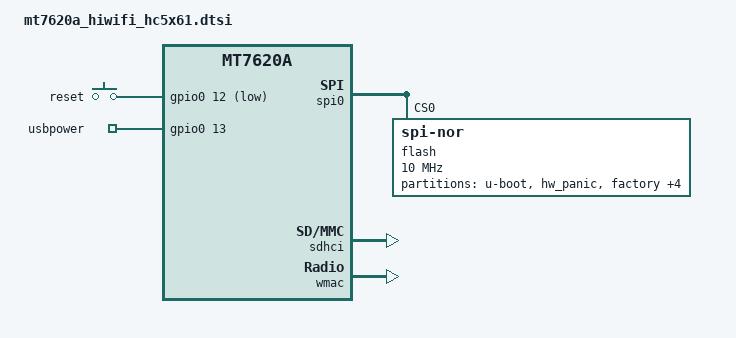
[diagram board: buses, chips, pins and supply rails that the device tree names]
#include "mt7620a.dtsi"

#include <dt-bindings/gpio/gpio.h>
#include <dt-bindings/input/input.h>

/ {
	compatible = "hiwifi,hc5x61", "ralink,mt7620a-soc";

	chosen {
		bootargs = "console=ttyS0,115200";
	};

	keys {
		compatible = "gpio-keys";

		reset {
			label = "reset";
			gpios = <&gpio0 12 GPIO_ACTIVE_LOW>;
			linux,code = <KEY_RESTART>;
		};
	};

	gpio_export {
		compatible = "gpio-export";
		#size-cells = <0>;

		usbpower {
			gpio-export,name = "usbpower";
			gpio-export,output = <1>;
			gpios = <&gpio0 13 GPIO_ACTIVE_HIGH>;
		};
	};
};

&sysc {
	ralink,gpiomux = "i2c", "jtag";
	ralink,uartmux = "gpio";
	ralink,wdtmux = <1>;
};

&gpio3 {
	status = "okay";
};

&spi0 {
	status = "okay";

	flash@0 {
		compatible = "jedec,spi-nor";
		reg = <0>;
		spi-max-frequency = <10000000>;

		partitions {
			compatible = "fixed-partitions";
			#address-cells = <1>;
			#size-cells = <1>;

			partition@0 {
				label = "u-boot";
				reg = <0x0 0x30000>;
				read-only;
			};

			partition@30000 {
				label = "hw_panic";
				reg = <0x30000 0x10000>;
				read-only;
			};

			factory: partition@40000 {
				label = "factory";
				reg = <0x40000 0x10000>;
				read-only;
			};

			partition@50000 {
				compatible = "denx,uimage";
				label = "firmware";
				reg = <0x50000 0xf70000>;
			};

			partition@fc0000 {
				label = "oem";
				reg = <0xfc0000 0x20000>;
				read-only;
			};

			bdinfo: partition@fe0000 {
				label = "bdinfo";
				reg = <0xfe0000 0x10000>;
				read-only;
			};

			partition@ff0000 {
				label = "backup";
				reg = <0xff0000 0x10000>;
				read-only;
			};
		};
	};
};

&ethernet {
	pinctrl-names = "default";
	pinctrl-0 = <&ephy_pins>;

	mtd-mac-address = <&factory 0x4>;

	mediatek,portmap = "wllll";
};

&sdhci {
	status = "okay";
};

&wmac {
	ralink,mtd-eeprom = <&factory 0x0>;
	pinctrl-names = "default";
	pinctrl-0 = <&pa_pins>;
};

&state_default {
	gpio {
		groups = "uartf", "wled";
		function = "gpio";
	};
};
